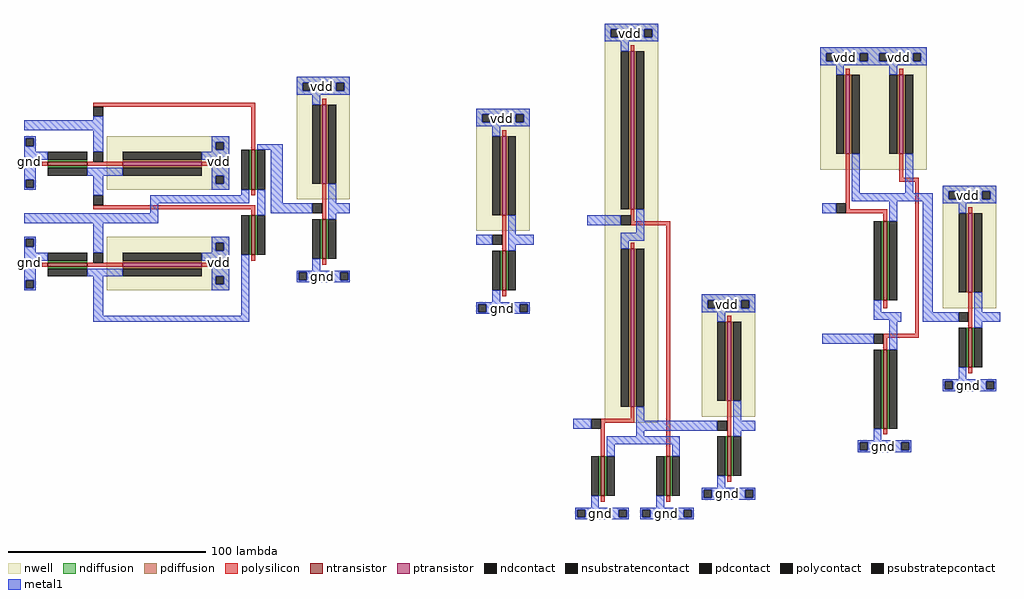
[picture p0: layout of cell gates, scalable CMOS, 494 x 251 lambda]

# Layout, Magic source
magic
tech scmos
<< nwell >>
rect -118 291 -56 318
rect -22 286 5 348
rect 69 270 96 332
rect -118 240 -56 267
rect 134 173 161 375
rect 243 301 297 363
rect 183 176 210 238
rect 305 231 332 293
<< ntransistor >>
rect -148 303 -128 305
rect -45 291 -43 311
rect -45 258 -43 278
rect -9 256 -7 276
rect -148 252 -128 254
rect 82 240 84 260
rect 275 235 277 275
rect 275 170 277 210
rect 318 201 320 221
rect 132 136 134 156
rect 165 136 167 156
rect 196 146 198 166
<< ptransistor >>
rect -110 303 -70 305
rect -9 294 -7 334
rect 82 278 84 318
rect 147 281 149 361
rect 256 309 258 349
rect 283 309 285 349
rect -110 252 -70 254
rect 147 181 149 261
rect 196 184 198 224
rect 318 239 320 279
<< ndiffusion >>
rect -148 305 -128 306
rect -148 302 -128 303
rect -46 291 -45 311
rect -43 291 -42 311
rect -148 254 -128 255
rect -46 258 -45 278
rect -43 258 -42 278
rect -10 256 -9 276
rect -7 256 -6 276
rect -148 251 -128 252
rect 81 240 82 260
rect 84 240 85 260
rect 274 235 275 275
rect 277 235 278 275
rect 274 170 275 210
rect 277 170 278 210
rect 317 201 318 221
rect 320 201 321 221
rect 131 136 132 156
rect 134 136 135 156
rect 164 136 165 156
rect 167 136 168 156
rect 195 146 196 166
rect 198 146 199 166
<< pdiffusion >>
rect -110 305 -70 306
rect -110 302 -70 303
rect -10 294 -9 334
rect -7 294 -6 334
rect 81 278 82 318
rect 84 278 85 318
rect 146 281 147 361
rect 149 281 150 361
rect 255 309 256 349
rect 258 309 259 349
rect 282 309 283 349
rect 285 309 286 349
rect -110 254 -70 255
rect -110 251 -70 252
rect 146 181 147 261
rect 149 181 150 261
rect 195 184 196 224
rect 198 184 199 224
rect 317 239 318 279
rect 320 239 321 279
<< ndcontact >>
rect -148 306 -128 310
rect -148 298 -128 302
rect -50 291 -46 311
rect -42 291 -38 311
rect -148 255 -128 259
rect -50 258 -46 278
rect -42 258 -38 278
rect -14 256 -10 276
rect -6 256 -2 276
rect -148 247 -128 251
rect 77 240 81 260
rect 85 240 89 260
rect 270 235 274 275
rect 278 235 282 275
rect 270 170 274 210
rect 278 170 282 210
rect 313 201 317 221
rect 321 201 325 221
rect 127 136 131 156
rect 135 136 139 156
rect 160 136 164 156
rect 168 136 172 156
rect 191 146 195 166
rect 199 146 203 166
<< pdcontact >>
rect -110 306 -70 310
rect -110 298 -70 302
rect -14 294 -10 334
rect -6 294 -2 334
rect -110 255 -70 259
rect 77 278 81 318
rect 85 278 89 318
rect 142 281 146 361
rect 150 281 154 361
rect 251 309 255 349
rect 259 309 263 349
rect 278 309 282 349
rect 286 309 290 349
rect -110 247 -70 251
rect 142 181 146 261
rect 150 181 154 261
rect 191 184 195 224
rect 199 184 203 224
rect 313 239 317 279
rect 321 239 325 279
<< psubstratepcontact >>
rect -159 313 -155 317
rect -159 292 -155 296
rect -159 262 -155 266
rect -159 241 -155 245
rect -21 245 -17 249
rect 0 245 4 249
rect 70 229 74 233
rect 91 229 95 233
rect 306 190 310 194
rect 327 190 331 194
rect 263 159 267 163
rect 284 159 288 163
rect 184 135 188 139
rect 205 135 209 139
rect 120 125 124 129
rect 141 125 145 129
rect 153 125 157 129
rect 174 125 178 129
<< nsubstratencontact >>
rect 137 368 141 372
rect 154 368 158 372
rect -19 341 -15 345
rect -2 341 2 345
rect -63 311 -59 315
rect -63 294 -59 298
rect 72 325 76 329
rect 89 325 93 329
rect -63 260 -59 264
rect 246 356 250 360
rect 263 356 267 360
rect 273 356 277 360
rect 290 356 294 360
rect -63 243 -59 247
rect 186 231 190 235
rect 203 231 207 235
rect 308 286 312 290
rect 325 286 329 290
<< polysilicon >>
rect 147 361 149 364
rect -125 333 -43 335
rect -9 334 -7 337
rect -45 311 -43 333
rect -151 303 -148 305
rect -128 303 -110 305
rect -70 303 -67 305
rect 82 318 84 321
rect -45 288 -43 291
rect -125 281 -43 283
rect -45 278 -43 281
rect -9 276 -7 294
rect 256 349 258 352
rect 283 349 285 352
rect -45 255 -43 258
rect 82 260 84 278
rect 147 275 149 281
rect 256 281 258 309
rect 283 297 285 309
rect 283 295 293 297
rect 256 279 277 281
rect 275 275 277 279
rect 147 273 167 275
rect 147 261 149 264
rect -151 252 -148 254
rect -128 252 -110 254
rect -70 252 -67 254
rect -9 253 -7 256
rect 82 237 84 240
rect 147 175 149 181
rect 132 173 149 175
rect 132 156 134 173
rect 165 156 167 273
rect 275 231 277 235
rect 196 224 198 227
rect 291 218 293 295
rect 318 279 320 282
rect 318 221 320 239
rect 275 216 293 218
rect 275 210 277 216
rect 196 166 198 184
rect 318 198 320 201
rect 275 167 277 170
rect 196 143 198 146
rect 132 133 134 136
rect 165 133 167 136
<< polycontact >>
rect -125 328 -120 333
rect -125 305 -120 310
rect -125 283 -120 288
rect -14 279 -9 284
rect -125 254 -120 259
rect 77 263 82 268
rect 142 273 147 278
rect 251 279 256 284
rect 127 170 132 175
rect 313 224 318 229
rect 270 213 275 218
rect 191 169 196 174
<< metal1 >>
rect 134 372 161 375
rect 134 368 137 372
rect 141 368 154 372
rect 158 368 161 372
rect 134 366 161 368
rect 142 361 146 366
rect -22 345 5 348
rect -22 341 -19 345
rect -15 341 -2 345
rect 2 341 5 345
rect -22 339 5 341
rect -14 334 -10 339
rect -125 326 -120 328
rect -160 321 -120 326
rect -160 317 -154 318
rect -160 313 -159 317
rect -155 313 -154 317
rect -160 310 -154 313
rect -125 310 -120 321
rect -65 315 -56 318
rect -65 311 -63 315
rect -59 311 -56 315
rect -42 311 -29 314
rect -65 310 -56 311
rect -160 306 -148 310
rect -160 296 -154 306
rect -70 306 -56 310
rect -128 298 -110 302
rect -65 298 -56 306
rect -160 292 -159 296
rect -155 292 -154 296
rect -160 291 -154 292
rect -125 288 -120 298
rect -65 294 -63 298
rect -59 294 -56 298
rect -65 291 -56 294
rect -50 288 -46 291
rect -96 284 -46 288
rect -96 279 -92 284
rect -160 274 -92 279
rect -42 278 -38 291
rect -35 284 -29 311
rect 69 329 96 332
rect 69 325 72 329
rect 76 325 89 329
rect 93 325 96 329
rect 69 323 96 325
rect -6 284 -2 294
rect 77 318 81 323
rect -35 279 -14 284
rect -6 279 5 284
rect -160 266 -154 267
rect -160 262 -159 266
rect -155 262 -154 266
rect -160 259 -154 262
rect -125 259 -120 274
rect -65 264 -56 267
rect -65 260 -63 264
rect -59 260 -56 264
rect -65 259 -56 260
rect -160 255 -148 259
rect -160 245 -154 255
rect -70 255 -56 259
rect -128 247 -110 251
rect -65 247 -56 255
rect -160 241 -159 245
rect -155 241 -154 245
rect -160 240 -154 241
rect -125 227 -120 247
rect -65 243 -63 247
rect -59 243 -56 247
rect -65 240 -56 243
rect -6 276 -2 279
rect 243 360 297 363
rect 243 356 246 360
rect 250 356 263 360
rect 267 356 273 360
rect 277 356 290 360
rect 294 356 297 360
rect 243 354 297 356
rect 251 349 255 354
rect 278 349 282 354
rect 259 289 263 309
rect 286 289 290 309
rect 305 290 332 293
rect 259 285 300 289
rect -50 227 -46 258
rect 85 268 89 278
rect 125 273 142 278
rect 150 269 154 281
rect 244 279 251 284
rect 278 275 282 285
rect 69 263 77 268
rect 85 263 98 268
rect 142 265 154 269
rect 85 260 89 263
rect -14 250 -10 256
rect -22 249 5 250
rect -22 245 -21 249
rect -17 245 0 249
rect 4 245 5 249
rect -22 244 5 245
rect 142 261 146 265
rect 77 234 81 240
rect 69 233 96 234
rect 69 229 70 233
rect 74 229 91 233
rect 95 229 96 233
rect 69 228 96 229
rect -125 224 -46 227
rect 183 235 210 238
rect 183 231 186 235
rect 190 231 203 235
rect 207 231 210 235
rect 183 229 210 231
rect 270 229 274 235
rect 295 229 300 285
rect 305 286 308 290
rect 312 286 325 290
rect 329 286 332 290
rect 305 284 332 286
rect 313 279 317 284
rect 321 229 325 239
rect 191 224 195 229
rect 270 225 284 229
rect 278 224 284 225
rect 295 224 313 229
rect 321 224 334 229
rect 244 213 270 218
rect 278 210 282 224
rect 321 221 325 224
rect 118 170 127 175
rect 150 174 154 181
rect 199 174 203 184
rect 150 169 191 174
rect 199 169 210 174
rect 313 195 317 201
rect 305 194 332 195
rect 305 190 306 194
rect 310 190 327 194
rect 331 190 332 194
rect 305 189 332 190
rect 150 166 154 169
rect 199 166 203 169
rect 135 162 172 166
rect 135 156 139 162
rect 168 156 172 162
rect 270 164 274 170
rect 262 163 289 164
rect 262 159 263 163
rect 267 159 284 163
rect 288 159 289 163
rect 262 158 289 159
rect 191 140 195 146
rect 183 139 210 140
rect 127 130 131 136
rect 160 130 164 136
rect 183 135 184 139
rect 188 135 205 139
rect 209 135 210 139
rect 183 134 210 135
rect 119 129 146 130
rect 119 125 120 129
rect 124 125 141 129
rect 145 125 146 129
rect 119 124 146 125
rect 152 129 179 130
rect 152 125 153 129
rect 157 125 174 129
rect 178 125 179 129
rect 152 124 179 125
<< labels >>
rlabel metal1 -61 254 -61 254 7 vdd
rlabel metal1 -157 254 -157 254 3 gnd
rlabel metal1 -61 305 -61 305 7 vdd
rlabel metal1 -157 305 -157 305 3 gnd
rlabel metal1 -9 247 -9 247 1 gnd
rlabel metal1 -9 343 -9 343 5 vdd
rlabel metal1 318 192 318 192 1 gnd
rlabel metal1 318 288 318 288 5 vdd
rlabel metal1 275 161 275 161 1 gnd
rlabel metal1 283 358 283 358 5 vdd
rlabel metal1 256 358 256 358 5 vdd
rlabel metal1 196 137 196 137 1 gnd
rlabel metal1 196 233 196 233 5 vdd
rlabel metal1 165 127 165 127 1 gnd
rlabel metal1 132 127 132 127 1 gnd
rlabel metal1 147 370 147 370 5 vdd
rlabel metal1 82 231 82 231 1 gnd
rlabel metal1 82 327 82 327 5 vdd
<< end >>
